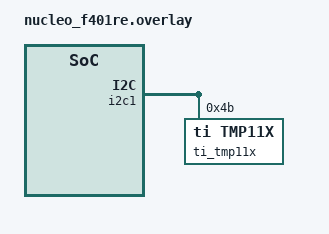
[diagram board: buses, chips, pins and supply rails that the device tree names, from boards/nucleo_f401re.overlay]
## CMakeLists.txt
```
# SPDX-License-Identifier: Apache-2.0

cmake_minimum_required(VERSION 3.28.0)
find_package(Zephyr REQUIRED HINTS $ENV{ZEPHYR_BASE})
project(tmp11x)

FILE(GLOB app_sources src/*.c)
target_sources(app PRIVATE ${app_sources})
```

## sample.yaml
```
sample:
  name: TI TMP11X Sensor Sample
tests:
  sample.sensor.tmp11x:
    harness: console
    platform_allow: nucleo_f401re
    integration_platforms:
      - nucleo_f401re
    tags: sensors
    depends_on: i2c
    harness_config:
      type: one_line
      regex:
        - "temp is (.*) oC"
      fixture: fixture_i2c_tmp11x
```

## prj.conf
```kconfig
CONFIG_STDOUT_CONSOLE=y
CONFIG_I2C=y
CONFIG_SENSOR=y
CONFIG_SENSOR_INIT_PRIORITY=90
CONFIG_EEPROM=y
CONFIG_EEPROM_INIT_PRIORITY=91
```

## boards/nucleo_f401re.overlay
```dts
/*
 * Copyright (c) 2019 Centaur Analytics, Inc
 *
 * SPDX-License-Identifier: Apache-2.0
 */

&i2c1 {
	ti_tmp11x: ti_tmp11x@4b {
		compatible = "ti,tmp11x";
		reg = <0x4b>;
		#address-cells = <1>;
		#size-cells = <0>;

		eeprom: ti_tmp11x_eeprom@0 {
			compatible = "ti,tmp11x-eeprom";
			reg = <0x0>;
			read-only;
		};
	};
};
```

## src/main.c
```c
/*
 * Copyright (c) 2019 Centaur Analytics, Inc
 *
 * SPDX-License-Identifier: Apache-2.0
 */

#include <zephyr/kernel.h>
#include <zephyr/device.h>
#include <zephyr/drivers/sensor.h>
#include <zephyr/drivers/eeprom.h>
#include <zephyr/drivers/sensor/tmp11x.h>
#include <zephyr/sys/printk.h>
#include <zephyr/sys/__assert.h>

#define TMP11X_NODE DT_COMPAT_GET_ANY_STATUS_OKAY(ti_tmp11x)
#define TMP11X_EEPROM_NODE DT_CHILD(TMP11X_NODE, ti_tmp11x_eeprom_0)

static uint8_t eeprom_content[EEPROM_TMP11X_SIZE];

int main(void)
{
	const struct device *const dev = DEVICE_DT_GET(TMP11X_NODE);
	const struct device *const eeprom = DEVICE_DT_GET(TMP11X_EEPROM_NODE);
	struct sensor_value temp_value;

	/* offset to be added to the temperature
	 * only supported by TMP117 and TMP119
	 */
	struct sensor_value offset_value;
	int ret;

	__ASSERT(device_is_ready(dev), "tmp11x device not ready");
	__ASSERT(device_is_ready(eeprom), "tmp11x eeprom device not ready");

	printk("Device %s - %p is ready\n", dev->name, dev);

	ret = eeprom_read(eeprom, 0, eeprom_content, sizeof(eeprom_content));
	if (ret == 0) {
		printk("eeprom content %02x%02x%02x%02x%02x%02x%02x%02x\n",
		       eeprom_content[0], eeprom_content[1],
		       eeprom_content[2], eeprom_content[3],
		       eeprom_content[4], eeprom_content[5],
		       eeprom_content[6], eeprom_content[7]);
	} else {
		printk("Failed to get eeprom content\n");
	}

	/*
	 * if an offset of 2.5 oC is to be added,
	 * set val1 = 2 and val2 = 500000.
	 * See struct sensor_value documentation for more details.
	 */
	offset_value.val1 = 0;
	offset_value.val2 = 0;
	ret = sensor_attr_set(dev, SENSOR_CHAN_AMBIENT_TEMP,
			      SENSOR_ATTR_OFFSET, &offset_value);
	if (ret) {
		printk("sensor_attr_set failed ret = %d\n", ret);
		printk("SENSOR_ATTR_OFFSET is only supported by TMP117 and TMP119\n");
	}
	while (1) {
		ret = sensor_sample_fetch(dev);
		if (ret) {
			printk("Failed to fetch measurements (%d)\n", ret);
			return 0;
		}

		ret = sensor_channel_get(dev, SENSOR_CHAN_AMBIENT_TEMP,
					 &temp_value);
		if (ret) {
			printk("Failed to get measurements (%d)\n", ret);
			return 0;
		}

		printk("temp is %d.%d oC\n", temp_value.val1, temp_value.val2);

		k_sleep(K_MSEC(1000));
	}
	return 0;
}
```
